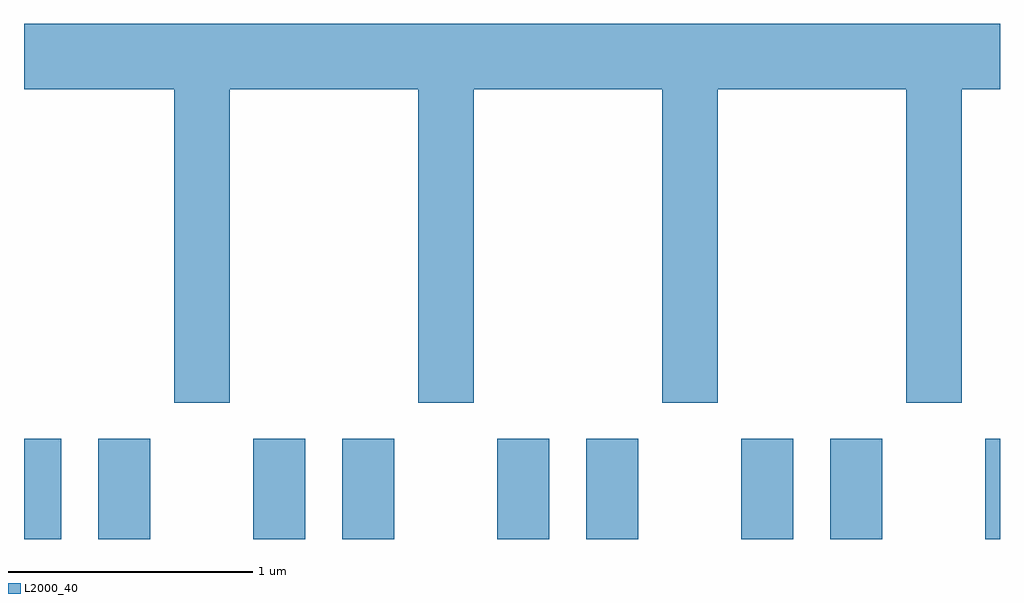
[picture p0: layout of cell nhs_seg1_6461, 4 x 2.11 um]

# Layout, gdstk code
import gdstk
lib = gdstk.Library(unit=1e-6, precision=1e-09)
def R(c, l, rs):  # rectangles x0, y0, x1, y1
    for r in rs: c.add(gdstk.rectangle(r[:2], r[2:], *l))
def P(c, l, *ps):  # polygons
    for p in ps: c.add(gdstk.Polygon(p, *l))
L2000_40 = (2000, 40)

nhs_seg1_6461 = lib.new_cell('nhs_seg1_6461')
R(nhs_seg1_6461, L2000_40, [(379.611,917.712,379.764,918.124), (379.916,917.712,380.129,918.124), (380.551,917.712,380.764,918.124), (380.916,917.712,381.129,918.124), (381.551,917.712,381.764,918.124), (381.916,917.712,382.129,918.124), (382.551,917.712,382.764,918.124), (382.916,917.712,383.129,918.124), (383.551,917.712,383.611,918.124)])
P(nhs_seg1_6461, L2000_40, [(380.454,919.556),(381.226,919.556),(381.226,918.271),(381.454,918.271),(381.454,919.556),(382.226,919.556),(382.226,918.271),(382.454,918.271),(382.454,919.556),(383.226,919.556),(383.226,918.271),(383.454,918.271),(383.454,919.556),(383.611,919.556),(383.611,919.824),(379.611,919.824),(379.611,919.556),(380.226,919.556),(380.226,918.271),(380.454,918.271)])

lib.write_gds('nhs_seg1_6461.gds')
